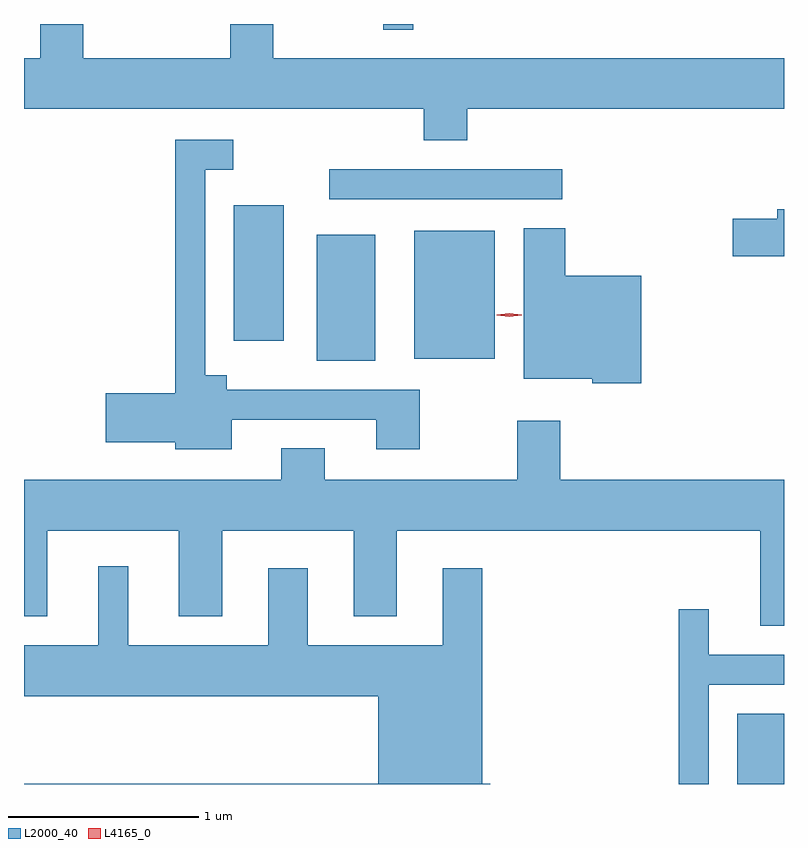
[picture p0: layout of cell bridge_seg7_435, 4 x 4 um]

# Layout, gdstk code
import gdstk
lib = gdstk.Library(unit=1e-6, precision=1e-09)
def R(c, l, rs):  # rectangles x0, y0, x1, y1
    for r in rs: c.add(gdstk.rectangle(r[:2], r[2:], *l))
def P(c, l, *ps):  # polygons
    for p in ps: c.add(gdstk.Polygon(p, *l))
L2000_40 = (2000, 40)
L4165_0 = (4165, 0)

bridge_seg7_435 = lib.new_cell('bridge_seg7_435')
R(bridge_seg7_435, L2000_40, [(1211.701,1704.103,1211.946,1704.474), (1209.486,1706.331,1209.794,1706.994), (1210.001,1706.341,1210.424,1707.014), (1209.051,1706.436,1209.314,1707.149), (1209.553,1707.181,1210.778,1707.339), (1209.836,1708.073,1209.994,1708.103)])
P(bridge_seg7_435, L2000_40, [(1210.279,1707.656),(1211.946,1707.656),(1211.946,1707.924),(1209.259,1707.924),(1209.259,1708.103),(1209.031,1708.103),(1209.031,1707.924),(1208.259,1707.924),(1208.259,1708.103),(1208.031,1708.103),(1208.031,1707.924),(1207.946,1707.924),(1207.946,1707.656),(1210.051,1707.656),(1210.051,1707.491),(1210.279,1707.491)],
  [(1209.039,1706.021),(1209.801,1706.021),(1209.801,1705.866),(1210.029,1705.866),(1210.029,1706.179),(1209.014,1706.179),(1209.014,1706.254),(1208.899,1706.254),(1208.899,1707.336),(1209.048,1707.336),(1209.048,1707.494),(1208.741,1707.494),(1208.741,1706.159),(1208.376,1706.159),(1208.376,1705.901),(1208.741,1705.901),(1208.741,1705.866),(1209.039,1705.866)],
  [(1211.946,1707.129),(1211.911,1707.129),(1211.911,1707.079),(1211.676,1707.079),(1211.676,1706.881),(1211.946,1706.881)],
  [(1211.194,1706.779),(1210.794,1706.779),(1210.794,1707.029),(1210.576,1707.029),(1210.576,1706.236),(1210.936,1706.236),(1210.936,1706.211),(1211.194,1706.211)],
  [(1211.946,1705.704),(1210.769,1705.704),(1210.769,1706.014),(1210.541,1706.014),(1210.541,1705.704),(1209.529,1705.704),(1209.529,1705.869),(1209.301,1705.869),(1209.301,1705.704),(1207.946,1705.704),(1207.946,1704.986),(1208.069,1704.986),(1208.069,1705.436),(1208.761,1705.436),(1208.761,1704.986),(1208.989,1704.986),(1208.989,1705.436),(1209.681,1705.436),(1209.681,1704.986),(1209.909,1704.986),(1209.909,1705.436),(1211.821,1705.436),(1211.821,1704.936),(1211.946,1704.936)],
  [(1210.399,1704.104),(1210.359,1704.104),(1210.359,1705.239),(1210.151,1705.239),(1210.151,1704.834),(1209.439,1704.834),(1209.439,1705.239),(1209.231,1705.239),(1209.231,1704.834),(1208.494,1704.834),(1208.494,1705.248),(1208.336,1705.248),(1208.336,1704.834),(1207.946,1704.834),(1207.946,1704.566),(1209.811,1704.566),(1209.811,1704.104),(1207.946,1704.104),(1207.946,1704.103),(1210.399,1704.103)],
  [(1211.549,1704.626),(1211.946,1704.626),(1211.946,1704.784),(1211.549,1704.784),(1211.549,1705.023),(1211.391,1705.023),(1211.391,1704.103),(1211.549,1704.103)])
P(bridge_seg7_435, L4165_0, [(1210.5,1706.562),(1210.434,1706.571),(1210.434,1706.572),(1210.434,1706.572),(1210.5,1706.581),(1210.565,1706.572),(1210.566,1706.571),(1210.565,1706.571)])

lib.write_gds('bridge_seg7_435.gds')
